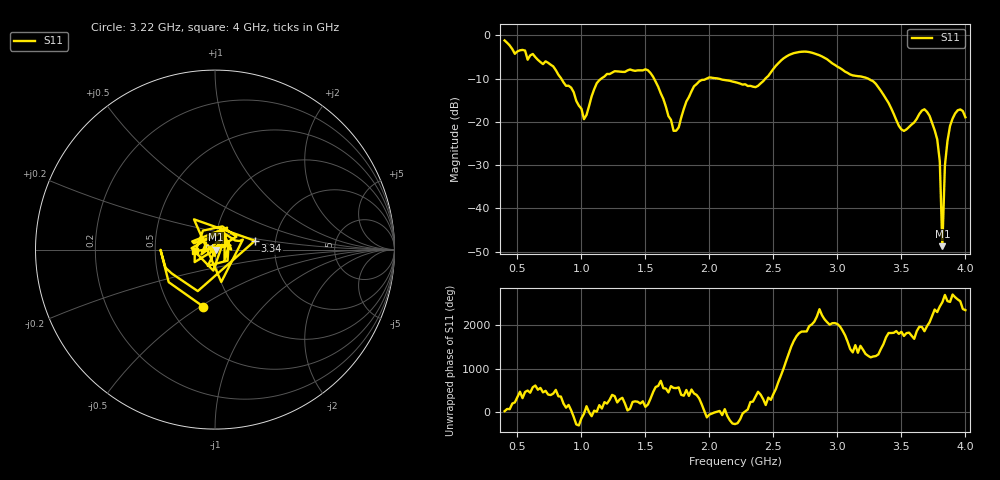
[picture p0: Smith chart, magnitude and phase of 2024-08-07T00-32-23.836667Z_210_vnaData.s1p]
!Created with skrf (http://scikit-rf.org).
# Hz S RI R 50.0
!freq ReS11 ImS11
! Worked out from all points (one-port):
!   181 points, 400 MHz to 4 GHz, reference 50 ohm
!   lowest |S11| = -48.7 dB at 3.82 GHz (marker M1), VSWR 1.01, Z = 50.4 + j0.0433 ohm
!   |S11| at or under -10 dB: 1.567 GHz to 1.98 GHz (413.1 MHz wide, 23.3 % of centre); 2.068 GHz to 2.438 GHz (370.6 MHz wide, 16.5 % of centre); 3.238 GHz to end of sweep (the widest 3 of 4)
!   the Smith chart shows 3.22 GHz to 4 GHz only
!   S11 on the Smith chart (normalised r, x): 3.22 GHz: 0.72, -0.51; 3.34 GHz: 1.56, +0.16; 4 GHz: 0.80, -0.02
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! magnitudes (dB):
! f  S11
! 400 MHz  -1.2
! 780 MHz  -7.2
! 860 MHz  -10.9
! 940 MHz  -13.2
! 1.02 GHz  -19.4
! 1.12 GHz  -11.1
! 1.3 GHz  -8.4
! 1.52 GHz  -8.1
! 1.72 GHz  -22.1
! 1.76 GHz  -21.3
! 1.82 GHz  -15.3
! 1.92 GHz  -10.7
! 2.2 GHz  -10.8
! 2.36 GHz  -12.0
! 2.66 GHz  -4.1
! 3.1 GHz  -9.1
! 3.22 GHz  -9.8
! 3.34 GHz  -12.8
! 3.5 GHz  -21.7
! 3.56 GHz  -21.2
! 3.68 GHz  -17.1
! 3.76 GHz  -21.9
! 3.8 GHz  -29.1
! 3.82 GHz  -48.7
! 3.84 GHz  -30.1
! 3.88 GHz  -21.0
! 3.94 GHz  -17.3
! 4 GHz  -18.9
